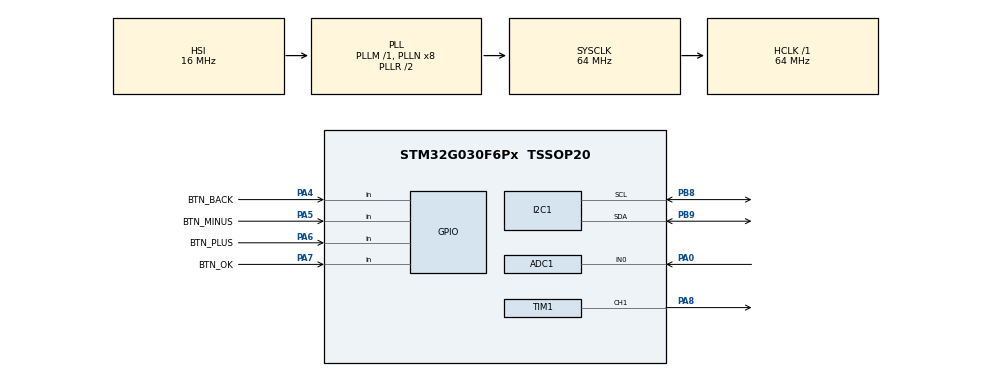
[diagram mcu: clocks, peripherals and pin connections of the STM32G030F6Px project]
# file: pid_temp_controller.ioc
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ADC1.DiscontinuousConvMode=ENABLE
ADC1.NbrOfConversionFlag=1
ADC1.OversamplingMode=DISABLE
ADC1.Resolution=ADC_RESOLUTION_10B
ADC1.SamplingTimeCommon1=ADC_SAMPLETIME_1CYCLE_5
ADC1.SamplingTimeCommon2=ADC_SAMPLETIME_1CYCLE_5
ADC1.SelectedChannel=ADC_CHANNEL_0
ADC1.master=1
I2C1.Timing=0x10707DBC
Mcu.Family=STM32G0
Mcu.Name=STM32G030F6Px
Mcu.Package=TSSOP20
PA0.Mode=IN0
PA0.Signal=ADC1_IN0
PA13.Mode=Serial_Wire
PA13.Signal=SYS_SWDIO
PA14-BOOT0.Mode=Serial_Wire
PA14-BOOT0.Signal=SYS_SWCLK
PA14-BOOT0__PA15.StandardMode=true
PA4.GPIO_Label=BTN_BACK
PA4.GPIO_PuPd=GPIO_PULLUP
PA4.Signal=GPIO_Input
PA5.GPIO_Label=BTN_MINUS
PA5.GPIO_PuPd=GPIO_PULLUP
PA5.Signal=GPIO_Input
PA6.GPIO_Label=BTN_PLUS
PA6.GPIO_PuPd=GPIO_PULLUP
PA6.Signal=GPIO_Input
PA7.GPIO_Label=BTN_OK
PA7.GPIO_PuPd=GPIO_PULLUP
PA7.Signal=GPIO_Input
PA8.Signal=S_TIM1_CH1
PB0__PB1__PB2__PA8.StandardMode=true
PB3__PB4__PB5__PB6.StandardMode=true
PB7__PB8.StandardMode=true
PB8.Mode=I2C
PB8.Signal=I2C1_SCL
PB9.Mode=I2C
PB9.Signal=I2C1_SDA
PC14-OSC32_IN\ (PC14)__PB9.StandardMode=true
ProjectManager.HeapSize=0x200
ProjectManager.StackSize=0x400
ProjectManager.TargetToolchain=STM32CubeIDE
RCC.ADCFreq_Value=64000000
RCC.AHBFreq_Value=64000000
RCC.CortexFreq_Value=64000000
RCC.EXTERNAL_CLOCK_VALUE=12288000
RCC.HCLKFreq_Value=64000000
RCC.HSE_VALUE=8000000
RCC.HSI_VALUE=16000000
RCC.LSE_VALUE=32768
RCC.SYSCLKFreq_VALUE=64000000
RCC.SYSCLKSource=RCC_SYSCLKSOURCE_PLLCLK
RCC.VCOOutputFreq_Value=128000000
SH.S_TIM1_CH1.0=TIM1_CH1,PWM Generation1 CH1
TIM1.Channel-PWM\ Generation1\ CH1=TIM_CHANNEL_1
VP_TIM1_VS_ClockSourceINT.Mode=Internal
board=custom

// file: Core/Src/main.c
/* USER CODE BEGIN Header */
/**
  ******************************************************************************
  * @file           : main.c
  * @brief          : Main program body
  ******************************************************************************
  * @attention
  *
  * Copyright (c) 2023 STMicroelectronics.
  * All rights reserved.
  *
  * This software is licensed under terms that can be found in the LICENSE file
  * in the root directory of this software component.
  * If no LICENSE file comes with this software, it is provided AS-IS.
  *
  ******************************************************************************
  */
/* USER CODE END Header */
#include "main.h"

/* USER CODE BEGIN Includes */
#include "thermistor_lookup.h"
#include "ssd1306.h"
#include "string.h"
/* USER CODE END Includes */

ADC_HandleTypeDef hadc1;

I2C_HandleTypeDef hi2c1;

TIM_HandleTypeDef htim1;

/* USER CODE BEGIN PV */
uint16_t temperature_setpoint = 0;
uint16_t current_temperature = 0;
/* USER CODE END PV */

void SystemClock_Config(void);
static void MX_GPIO_Init(void);
static void MX_ADC1_Init(void);
static void MX_I2C1_Init(void);
static void MX_TIM1_Init(void);

/* USER CODE BEGIN 0 */
HAL_StatusTypeDef SetPwm(uint16_t value){
  TIM_OC_InitTypeDef sConfigOC = {0};
  sConfigOC.OCMode = TIM_OCMODE_PWM1;
  sConfigOC.Pulse = value;
  sConfigOC.OCPolarity = TIM_OCPOLARITY_HIGH;
  sConfigOC.OCNPolarity = TIM_OCNPOLARITY_HIGH;
  sConfigOC.OCFastMode = TIM_OCFAST_DISABLE;
  sConfigOC.OCIdleState = TIM_OCIDLESTATE_RESET;
  sConfigOC.OCNIdleState = TIM_OCNIDLESTATE_RESET;
  return HAL_TIM_PWM_ConfigChannel(&htim1, &sConfigOC, TIM_CHANNEL_1);
}

void print_int(char* dest, int num, int places){
	for(int i = 0; i < places; i++){
		if(num != 0)
			dest[places - 1 - i] = '0' + (num % 10);
		else
			dest[places - 1 - i] = ' ';
		num = num / 10;
	}
}
/* USER CODE END 0 */

int main(void)
{

  /* MCU Configuration--------------------------------------------------------*/

  /* Reset of all peripherals, Initializes the Flash interface and the Systick. */
  HAL_Init();

  /* Configure the system clock */
  SystemClock_Config();

  /* Initialize all configured peripherals */
  MX_GPIO_Init();
  MX_ADC1_Init();
  MX_I2C1_Init();
  MX_TIM1_Init();
  /* USER CODE BEGIN 2 */

  uint16_t thermistor_adc = 0;
  ssd1306_SetDisplayOn(1);
  char temp[22];
  HAL_TIM_PWM_Start(&htim1, TIM_CHANNEL_1);
  uint16_t pwm_value = 0;

  /* USER CODE END 2 */

  /* Infinite loop */
  /* USER CODE BEGIN WHILE */
  while (1)
  {
	ssd1306_Fill(Black);

	thermistor_adc = HAL_ADC_GetValue(&hadc1);
	current_temperature = thermistor_value_lookup[thermistor_adc];

	ssd1306_SetCursor(0, 0);
	print_int(temp, current_temperature/10, 4);
	print_int(temp+5, current_temperature % 10, 1);
	temp[4] = '.';
	temp[6] = '\0';
	ssd1306_WriteString(temp, Font_11x18, White);

	ssd1306_SetCursor(0, 20);
	print_int(temp+5, temperature_setpoint/10, 4);
	print_int(temp+10, temperature_setpoint%10, 1);
	memcpy(temp, "SET: ", 5);
	temp[9] = '.';
	temp[11] = '\0';
	ssd1306_WriteString(temp, Font_6x8, White);

	ssd1306_UpdateScreen();

	pwm_value = (current_temperature >= temperature_setpoint) ? 0 : 65535;

	SetPwm(pwm_value);

	if(HAL_GPIO_ReadPin(BTN_PLUS_GPIO_Port, BTN_PLUS_Pin)) temperature_setpoint += 10;
	if(HAL_GPIO_ReadPin(BTN_MINUS_GPIO_Port, BTN_MINUS_Pin)) temperature_setpoint -= 10;

	HAL_Delay(10);
    /* USER CODE END WHILE */

  }
}

void SystemClock_Config(void)
{
  RCC_OscInitTypeDef RCC_OscInitStruct = {0};
  RCC_ClkInitTypeDef RCC_ClkInitStruct = {0};

  /** Configure the main internal regulator output voltage
  */
  HAL_PWREx_ControlVoltageScaling(PWR_REGULATOR_VOLTAGE_SCALE1);

  /** Initializes the RCC Oscillators according to the specified parameters
  * in the RCC_OscInitTypeDef structure.
  */
  RCC_OscInitStruct.OscillatorType = RCC_OSCILLATORTYPE_HSI;
  RCC_OscInitStruct.HSIState = RCC_HSI_ON;
  RCC_OscInitStruct.HSIDiv = RCC_HSI_DIV1;
  RCC_OscInitStruct.HSICalibrationValue = RCC_HSICALIBRATION_DEFAULT;
  RCC_OscInitStruct.PLL.PLLState = RCC_PLL_ON;
  RCC_OscInitStruct.PLL.PLLSource = RCC_PLLSOURCE_HSI;
  RCC_OscInitStruct.PLL.PLLM = RCC_PLLM_DIV1;
  RCC_OscInitStruct.PLL.PLLN = 8;
  RCC_OscInitStruct.PLL.PLLP = RCC_PLLP_DIV2;
  RCC_OscInitStruct.PLL.PLLR = RCC_PLLR_DIV2;
  if (HAL_RCC_OscConfig(&RCC_OscInitStruct) != HAL_OK)
  {
    Error_Handler();
  }

  /** Initializes the CPU, AHB and APB buses clocks
  */
  RCC_ClkInitStruct.ClockType = RCC_CLOCKTYPE_HCLK|RCC_CLOCKTYPE_SYSCLK
                              |RCC_CLOCKTYPE_PCLK1;
  RCC_ClkInitStruct.SYSCLKSource = RCC_SYSCLKSOURCE_PLLCLK;
  RCC_ClkInitStruct.AHBCLKDivider = RCC_SYSCLK_DIV1;
  RCC_ClkInitStruct.APB1CLKDivider = RCC_HCLK_DIV1;

  if (HAL_RCC_ClockConfig(&RCC_ClkInitStruct, FLASH_LATENCY_2) != HAL_OK)
  {
    Error_Handler();
  }
}

static void MX_ADC1_Init(void)
{

  ADC_ChannelConfTypeDef sConfig = {0};

  /** Configure the global features of the ADC (Clock, Resolution, Data Alignment and number of conversion)
  */
  hadc1.Instance = ADC1;
  hadc1.Init.ClockPrescaler = ADC_CLOCK_SYNC_PCLK_DIV2;
  hadc1.Init.Resolution = ADC_RESOLUTION_10B;
  hadc1.Init.DataAlign = ADC_DATAALIGN_RIGHT;
  hadc1.Init.ScanConvMode = ADC_SCAN_DISABLE;
  hadc1.Init.EOCSelection = ADC_EOC_SINGLE_CONV;
  hadc1.Init.LowPowerAutoWait = DISABLE;
  hadc1.Init.LowPowerAutoPowerOff = DISABLE;
  hadc1.Init.ContinuousConvMode = DISABLE;
  hadc1.Init.NbrOfConversion = 1;
  hadc1.Init.DiscontinuousConvMode = ENABLE;
  hadc1.Init.ExternalTrigConv = ADC_SOFTWARE_START;
  hadc1.Init.ExternalTrigConvEdge = ADC_EXTERNALTRIGCONVEDGE_NONE;
  hadc1.Init.DMAContinuousRequests = DISABLE;
  hadc1.Init.Overrun = ADC_OVR_DATA_PRESERVED;
  hadc1.Init.SamplingTimeCommon1 = ADC_SAMPLETIME_1CYCLE_5;
  hadc1.Init.SamplingTimeCommon2 = ADC_SAMPLETIME_1CYCLE_5;
  hadc1.Init.OversamplingMode = DISABLE;
  hadc1.Init.TriggerFrequencyMode = ADC_TRIGGER_FREQ_HIGH;
  if (HAL_ADC_Init(&hadc1) != HAL_OK)
  {
    Error_Handler();
  }

  /** Configure Regular Channel
  */
  sConfig.Channel = ADC_CHANNEL_0;
  sConfig.Rank = ADC_REGULAR_RANK_1;
  sConfig.SamplingTime = ADC_SAMPLINGTIME_COMMON_1;
  if (HAL_ADC_ConfigChannel(&hadc1, &sConfig) != HAL_OK)
  {
    Error_Handler();
  }
  /* USER CODE BEGIN ADC1_Init 2 */
  HAL_ADC_Start(&hadc1);
  /* USER CODE END ADC1_Init 2 */

}

static void MX_I2C1_Init(void)
{

  hi2c1.Instance = I2C1;
  hi2c1.Init.Timing = 0x10707DBC;
  hi2c1.Init.OwnAddress1 = 0;
  hi2c1.Init.AddressingMode = I2C_ADDRESSINGMODE_7BIT;
  hi2c1.Init.DualAddressMode = I2C_DUALADDRESS_DISABLE;
  hi2c1.Init.OwnAddress2 = 0;
  hi2c1.Init.OwnAddress2Masks = I2C_OA2_NOMASK;
  hi2c1.Init.GeneralCallMode = I2C_GENERALCALL_DISABLE;
  hi2c1.Init.NoStretchMode = I2C_NOSTRETCH_DISABLE;
  if (HAL_I2C_Init(&hi2c1) != HAL_OK)
  {
    Error_Handler();
  }

  /** Configure Analogue filter
  */
  if (HAL_I2CEx_ConfigAnalogFilter(&hi2c1, I2C_ANALOGFILTER_ENABLE) != HAL_OK)
  {
    Error_Handler();
  }

  /** Configure Digital filter
  */
  if (HAL_I2CEx_ConfigDigitalFilter(&hi2c1, 0) != HAL_OK)
  {
    Error_Handler();
  }

}

static void MX_TIM1_Init(void)
{

  TIM_ClockConfigTypeDef sClockSourceConfig = {0};
  TIM_MasterConfigTypeDef sMasterConfig = {0};
  TIM_OC_InitTypeDef sConfigOC = {0};
  TIM_BreakDeadTimeConfigTypeDef sBreakDeadTimeConfig = {0};

  htim1.Instance = TIM1;
  htim1.Init.Prescaler = 0;
  htim1.Init.CounterMode = TIM_COUNTERMODE_UP;
  htim1.Init.Period = 65535;
  htim1.Init.ClockDivision = TIM_CLOCKDIVISION_DIV1;
  htim1.Init.RepetitionCounter = 0;
  htim1.Init.AutoReloadPreload = TIM_AUTORELOAD_PRELOAD_DISABLE;
  if (HAL_TIM_Base_Init(&htim1) != HAL_OK)
  {
    Error_Handler();
  }
  sClockSourceConfig.ClockSource = TIM_CLOCKSOURCE_INTERNAL;
  if (HAL_TIM_ConfigClockSource(&htim1, &sClockSourceConfig) != HAL_OK)
  {
    Error_Handler();
  }
  if (HAL_TIM_PWM_Init(&htim1) != HAL_OK)
  {
    Error_Handler();
  }
  sMasterConfig.MasterOutputTrigger = TIM_TRGO_RESET;
  sMasterConfig.MasterOutputTrigger2 = TIM_TRGO2_RESET;
  sMasterConfig.MasterSlaveMode = TIM_MASTERSLAVEMODE_DISABLE;
  if (HAL_TIMEx_MasterConfigSynchronization(&htim1, &sMasterConfig) != HAL_OK)
  {
    Error_Handler();
  }
  sConfigOC.OCMode = TIM_OCMODE_PWM1;
  sConfigOC.Pulse = 0;
  sConfigOC.OCPolarity = TIM_OCPOLARITY_HIGH;
  sConfigOC.OCNPolarity = TIM_OCNPOLARITY_HIGH;
  sConfigOC.OCFastMode = TIM_OCFAST_DISABLE;
  sConfigOC.OCIdleState = TIM_OCIDLESTATE_RESET;
  sConfigOC.OCNIdleState = TIM_OCNIDLESTATE_RESET;
  if (HAL_TIM_PWM_ConfigChannel(&htim1, &sConfigOC, TIM_CHANNEL_1) != HAL_OK)
  {
    Error_Handler();
  }
  sBreakDeadTimeConfig.OffStateRunMode = TIM_OSSR_DISABLE;
  sBreakDeadTimeConfig.OffStateIDLEMode = TIM_OSSI_DISABLE;
  sBreakDeadTimeConfig.LockLevel = TIM_LOCKLEVEL_OFF;
  sBreakDeadTimeConfig.DeadTime = 0;
  sBreakDeadTimeConfig.BreakState = TIM_BREAK_DISABLE;
  sBreakDeadTimeConfig.BreakPolarity = TIM_BREAKPOLARITY_HIGH;
  sBreakDeadTimeConfig.BreakFilter = 0;
  sBreakDeadTimeConfig.BreakAFMode = TIM_BREAK_AFMODE_INPUT;
  sBreakDeadTimeConfig.Break2State = TIM_BREAK2_DISABLE;
  sBreakDeadTimeConfig.Break2Polarity = TIM_BREAK2POLARITY_HIGH;
  sBreakDeadTimeConfig.Break2Filter = 0;
  sBreakDeadTimeConfig.Break2AFMode = TIM_BREAK_AFMODE_INPUT;
  sBreakDeadTimeConfig.AutomaticOutput = TIM_AUTOMATICOUTPUT_DISABLE;
  if (HAL_TIMEx_ConfigBreakDeadTime(&htim1, &sBreakDeadTimeConfig) != HAL_OK)
  {
    Error_Handler();
  }
  HAL_TIM_MspPostInit(&htim1);

}

static void MX_GPIO_Init(void)
{
  GPIO_InitTypeDef GPIO_InitStruct = {0};

  /* GPIO Ports Clock Enable */
  __HAL_RCC_GPIOB_CLK_ENABLE();
  __HAL_RCC_GPIOA_CLK_ENABLE();

  /*Configure GPIO pins : BTN_BACK_Pin BTN_MINUS_Pin BTN_PLUS_Pin BTN_OK_Pin */
  GPIO_InitStruct.Pin = BTN_BACK_Pin|BTN_MINUS_Pin|BTN_PLUS_Pin|BTN_OK_Pin;
  GPIO_InitStruct.Mode = GPIO_MODE_INPUT;
  GPIO_InitStruct.Pull = GPIO_PULLUP;
  HAL_GPIO_Init(GPIOA, &GPIO_InitStruct);

}

void Error_Handler(void)
{
  __disable_irq();
  while (1)
  {
  }
}
